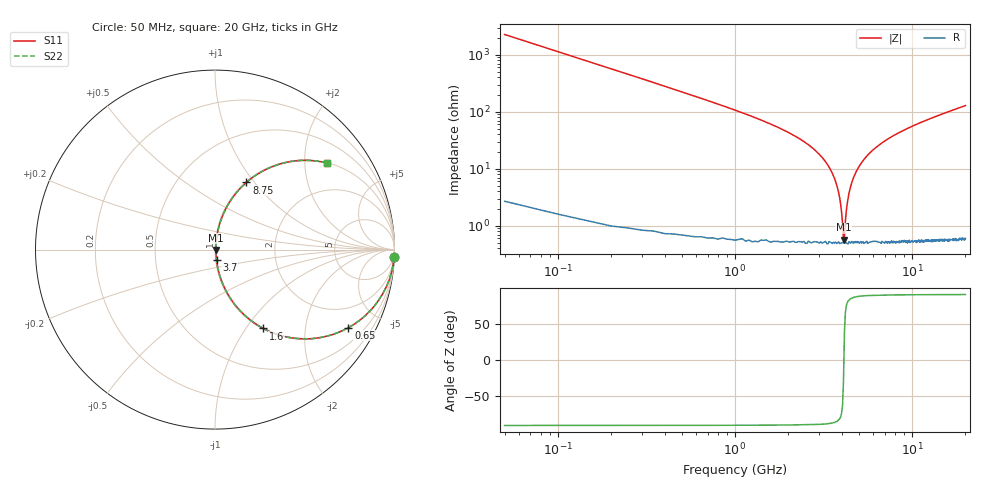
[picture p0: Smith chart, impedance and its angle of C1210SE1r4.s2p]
! AVX Thin Film Operation		Date: April 2012
! Description: Accu-P® Series, Thin Film, SMD, RF Capacitor
! Part Number: 12101J1R4PBTTR
!	100	MHz	-	20.05	GHz
!	Serial	Measurements
#	MHZ	S	MA	R	50
!	S11	S21	S12	S22
!	dB	Phase	dB	Phase	dB	Phase	dB	Phase
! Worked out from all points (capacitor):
!   400 points, 50 MHz to 20 GHz, reference 50 ohm
!   read as one part in series: C = 1.4 pF near 150 MHz
!   lowest |Z| = 569 mohm at 4.1 GHz (marker M1)
!   series resonance near 4.12 GHz, so ESL is about 1.1 nH
!   S11 on the Smith chart (normalised r, x): 50 MHz: 1, -45; 650 MHz: 1.01, -3.41; 1.6 GHz: 1.01, -1.21; 3.7 GHz: 1.01, -0.12; 8.75 GHz: 1.01, +0.91; 20 GHz: 1.01, +2.57
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50  0.999 -2.5  0.044 87.4  0.044 87.4  0.999 -2.5
150  0.991 -7.5  0.131 82.4  0.131 82.4  0.991 -7.5
250  0.976 -12.4  0.215 77.4  0.215 77.4  0.976 -12.4
650  0.861 -30.3  0.505 59.5  0.505 59.5  0.861 -30.3
1600  0.515 -58.5  0.853 31.0  0.853 31.0  0.515 -58.5
2650  0.243 -74.8  0.965 14.0  0.965 14.0  0.243 -74.8
3400  0.106 -81.2  0.989 6.1  0.989 6.1  0.106 -81.2
3700  0.059 -81.7  0.993 3.4  0.993 3.4  0.059 -81.7
3950  0.024 -76.4  0.995 1.3  0.995 1.3  0.024 -76.4
4050  0.011 -61.2  0.995 0.5  0.995 0.5  0.011 -61.2
4100  0.005682 -27.4  0.995 0.2  0.995 0.2  0.005682 -27.4
4150  0.006452 38.4  0.995 -0.2  0.995 -0.2  0.006452 38.4
4250  0.018 72.6  0.995 -1.0  0.995 -1.0  0.018 72.6
4350  0.03 78.7  0.995 -1.7  0.995 -1.7  0.03 78.7
4700  0.073 81.9  0.992 -4.2  0.992 -4.2  0.073 81.9
5450  0.154 79.3  0.983 -8.8  0.983 -8.8  0.154 79.3
6700  0.268 73.4  0.959 -15.5  0.959 -15.5  0.268 73.4
8750  0.413 64.9  0.906 -24.4  0.906 -24.4  0.413 64.9
10050  0.487 60.3  0.869 -29.1  0.869 -29.1  0.487 60.3
13350  0.627 50.8  0.775 -38.8  0.775 -38.8  0.627 50.8
16700  0.722 43.4  0.688 -46.2  0.688 -46.2  0.722 43.4
20000  0.787 37.8  0.613 -51.9  0.613 -51.9  0.787 37.8
